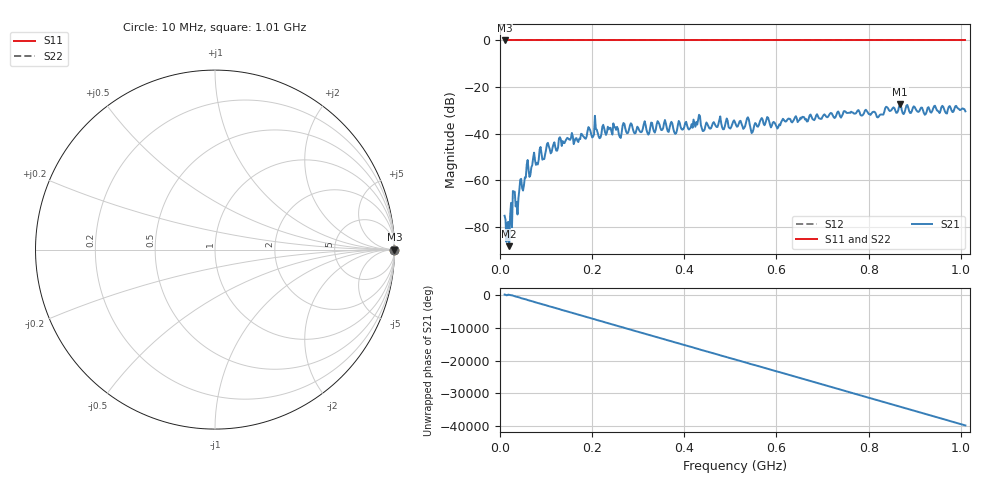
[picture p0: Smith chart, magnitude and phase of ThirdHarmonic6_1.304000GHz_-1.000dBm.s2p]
! 8/16/2025 2:22:30 PM
! C:\ANRITSUVNA\TEMP\TEMP.S2P
! CHANNEL.1
! TR.MEASUREMENT
! RAW.DATA
! RF.CORRECTION.OFF
! AVERAGING.OFF
! IF.BANDWIDTH: 5KHZ
! SWEEPTYPE:  FREQ.SWEEP(Linear)
! Reference Plane Port Info
! PORT:  PORT1  PORT2
! DISTANCE:  0  m  0  m
! TIME:  0  s  0  s
! PHASE.OFFSET:  0  deg.  0  deg.
! LOSS:  0  dB  0  dB
! REF.LOSS:  0  dB  0  dB
! REF.FREQ:  0  Hz  0  Hz
! Power Info
! POWER:  -20  dBm  -20  dBm
! EFF.POWER:  -20  dBm  -20  dBm
! SOURCE.ATTEN:  0  dB  0  dB
! TEST.ATTEN:  0  dB  0  dB
# GHZ S RI R 50.0
! FREQ.GHZ  S11RE  S11IM  S21RE  S21IM  S12RE  S12IM  S22RE  S22IM
!; PortSelection: Port_12
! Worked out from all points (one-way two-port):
!   501 points, 10 MHz to 1.01 GHz, reference 50 ohm
!   highest |S21| = -27.25 dB at 868 MHz (marker M1); lowest = -88.2 dB at 20 MHz (marker M2)
!   lowest |S11| = 0.0 dB at 10 MHz (marker M3)
!   |S11| at or under -10 dB: nowhere
!   |S22| runs from 0.0 to 0.0 dB; largest |S21 - S12| = 1
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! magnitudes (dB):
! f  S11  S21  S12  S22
! 10 MHz  0.0  -75.2  0.0  0.0
! 20 MHz  0.0  -88.2  0.0  0.0
! 28 MHz  0.0  -64.6  0.0  0.0
! 38 MHz  0.0  -74.6  0.0  0.0
! 44 MHz  0.0  -59.6  0.0  0.0
! 72 MHz  0.0  -50.3  0.0  0.0
! 96 MHz  0.0  -50.8  0.0  0.0
! 104 MHz  0.0  -43.9  0.0  0.0
! 178 MHz  0.0  -40.2  0.0  0.0
! 344 MHz  0.0  -35.1  0.0  0.0
! 380 MHz  0.0  -40.0  0.0  0.0
! 430 MHz  0.0  -34.1  0.0  0.0
! 442 MHz  0.0  -38.8  0.0  0.0
! 510 MHz  0.0  -35.1  0.0  0.0
! 538 MHz  0.0  -32.9  0.0  0.0
! 548 MHz  0.0  -39.4  0.0  0.0
! 568 MHz  0.0  -33.3  0.0  0.0
! 604 MHz  0.0  -37.2  0.0  0.0
! 678 MHz  0.0  -33.6  0.0  0.0
! 844 MHz  0.0  -29.9  0.0  0.0
! 868 MHz  0.0  -27.3  0.0  0.0
! 1.01 GHz  0.0  -30.4  0.0  0.0
